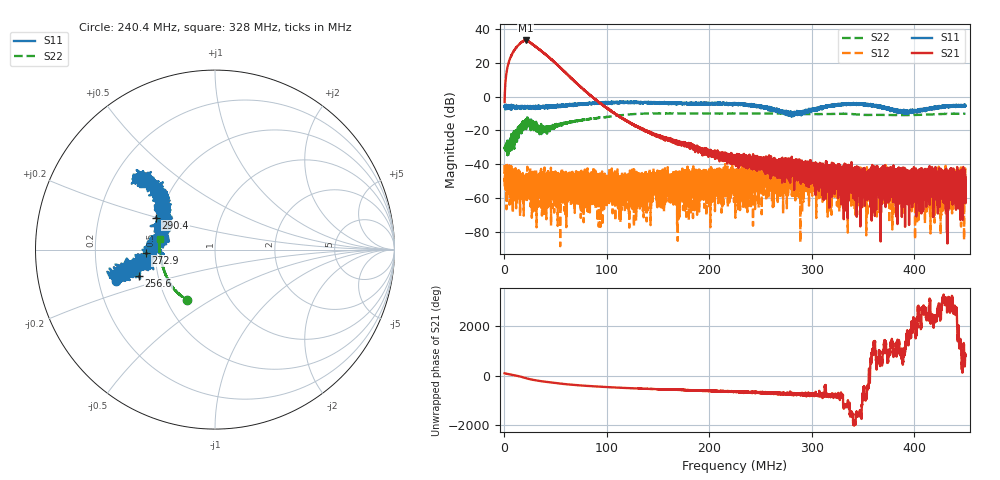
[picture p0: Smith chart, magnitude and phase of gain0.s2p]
# Hz S DB R 50
! CMT, M5065, 19127446, 24.2.4/2
! Date: 12/3/2024 4:27:11 PM
! Data: Format (Calibration Info)
! Freq	S11:dB/Ang(F2)	S21:dB/Ang(F2)	S12:dB/Ang(F2)	S22:dB/Ang(F2)
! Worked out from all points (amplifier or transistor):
!   9000 points, 300 kHz to 450 MHz, reference 50 ohm
!   highest |S21| = 33.3 dB at 20.89 MHz (marker M1)
!   |S21| within 3 dB of that: 13.31 MHz to 29.16 MHz (15.85 MHz wide, 74.6 % of centre)
!   unconditionally stable (mu >= 1): start of sweep to end of sweep
!   at 75.26 MHz: K = 33.42, MAG = 7.5 dB, |S12| = -46.1 dB
!   at 225.2 MHz: K = 10415.54, MAG = -32.0 dB, |S12| = -56.8 dB
!   at 450 MHz: K = 40621.60, MAG = -45.8 dB, |S12| = -54.5 dB
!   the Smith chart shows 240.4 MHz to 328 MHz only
!   S11 on the Smith chart (normalised r, x): 240.4 MHz: 0.27, -0.15; 256.6 MHz: 0.39, -0.14; 272.9 MHz: 0.44, -0.02; 290.4 MHz: 0.48, +0.20; 328 MHz: 0.33, +0.35
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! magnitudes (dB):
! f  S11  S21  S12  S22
! 300 kHz  -5.4  -3.1  -53.1  -30.3
! 3.248 MHz  -5.9  17.8  -55.5  -30.4
! 6.447 MHz  -6.1  23.9  -45.7  -24.2
! 20.89 MHz  -7.1  33.3  -55.0  -14.6
! 40.23 MHz  -5.2  25.0  -49.4  -21.1
! 75.26 MHz  -4.5  5.4  -46.1  -13.8
! 88.3 MHz  -4.2  -1.2  -52.1  -12.8
! 112.9 MHz  -3.4  -11.9  -50.1  -11.0
! 150.2 MHz  -3.4  -23.2  -58.9  -9.9
! 170.5 MHz  -3.6  -27.1  -49.0  -9.9
! 185.5 MHz  -4.1  -29.0  -44.5  -9.9
! 225.2 MHz  -4.4  -34.5  -56.8  -10.0
! 240.4 MHz  -4.8  -38.8  -59.5  -9.9
! 256.6 MHz  -7.0  -37.7  -45.9  -9.9
! 272.9 MHz  -8.3  -40.3  -43.8  -10.1
! 290.4 MHz  -8.5  -37.8  -45.7  -10.2
! 300.1 MHz  -8.2  -44.7  -49.1  -10.3
! 328 MHz  -5.2  -46.7  -50.0  -10.2
! 349.7 MHz  -4.6  -54.4  -48.7  -10.7
! 375.1 MHz  -7.2  -51.3  -50.3  -10.8
! 431.5 MHz  -5.9  -45.3  -46.7  -10.2
! 450 MHz  -5.1  -47.8  -54.5  -10.1
